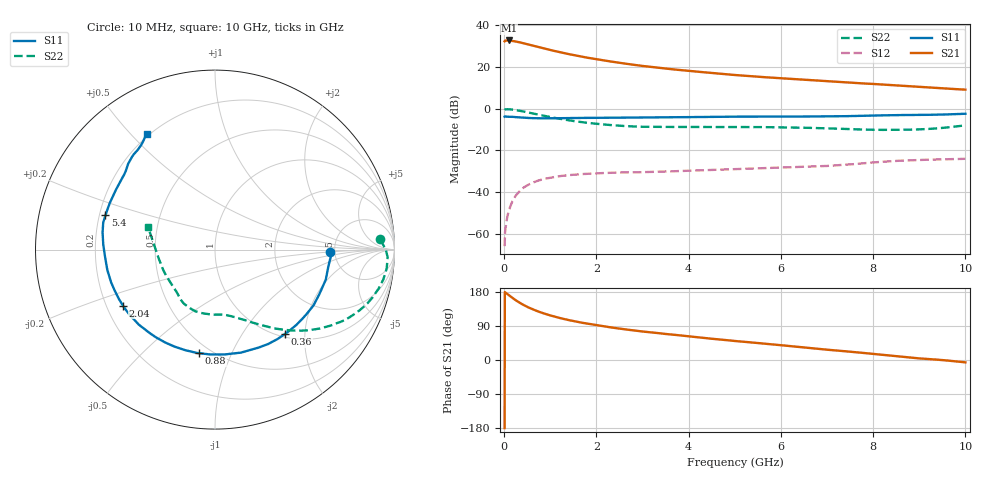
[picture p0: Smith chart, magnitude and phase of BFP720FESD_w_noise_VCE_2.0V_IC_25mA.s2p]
! Infineon Technologies  Discrete & RF Semiconductors
! BFP720FESD
! VCE =  2.0 V,  IC =  25 mA
! Common Emitter S-Parameters:  Jan 2016
# GHz  S  MA  R  50
!  f  S11  S21  S12  S22
! GHz  MAG  ANG  MAG  ANG  MAG  ANG  MAG  ANG
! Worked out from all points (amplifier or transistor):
!   233 points, 10 MHz to 10 GHz, reference 50 ohm
!   highest |S21| = 32.7 dB at 100 MHz (marker M1)
!   |S21| within 3 dB of that: start of sweep to 709.8 MHz
!   unconditionally stable (mu >= 1): start of sweep to 14.56 MHz; 4.664 GHz to end of sweep
!   at 200 MHz: K = 0.15, MSG = 38.0 dB, |S12| = -43.6 dB
!   at 1.74 GHz: K = 0.53, MSG = 28.0 dB, |S12| = -31.4 dB
!   at 10 GHz: K = 1.19, MAG = 14.0 dB, |S12| = -24.1 dB
!   lowest NFmin = 1.08 dB at 450 MHz
!   S11 on the Smith chart (normalised r, x): 10 MHz: 4.53, -0.22; 360 MHz: 1.05, -1.58; 880 MHz: 0.43, -0.76; 2.04 GHz: 0.27, -0.26; 5.4 GHz: 0.22, +0.15; 10 GHz: 0.19, +0.56
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0.01  0.6393 -1.3  41.06 -179.7  0.0005 127.1  0.9228 3.5
0.02  0.6467 -3.3  42.59 178.5  0.0011 93.0  0.9514 0.0
0.1  0.6395 -15.1  43 171.4  0.0035 79.4  0.9623 -6.3
0.2  0.6307 -29.7  41.67 162.2  0.0066 76.0  0.9379 -13.3
0.24  0.6241 -35.0  40.82 158.6  0.0078 73.6  0.9238 -15.8
0.36  0.6107 -50.4  38.22 149.4  0.0111 67.7  0.8751 -22.6
0.45  0.6036 -60.7  36.1 143.3  0.0133 63.8  0.8368 -27.0
0.6  0.5919 -75.9  32.8 134.6  0.0163 58.0  0.771 -33.3
0.8  0.5847 -93.0  28.64 125.2  0.0196 51.8  0.6935 -40.3
0.88  0.5838 -98.8  27.3 122.1  0.0206 49.6  0.6655 -42.7
1  0.5844 -106.8  25.35 117.6  0.022 46.7  0.626 -46.1
1.22  0.5873 -119.2  22.36 110.4  0.024 42.4  0.5643 -51.5
1.4  0.5903 -127.6  20.25 105.3  0.0253 39.6  0.5223 -55.5
1.68  0.5958 -138.3  17.63 98.6  0.0267 36.3  0.4723 -60.9
2.04  0.6004 -148.7  14.99 91.3  0.028 33.6  0.4271 -67.0
2.6  0.6068 -162.1  12.06 81.2  0.0294 31.0  0.382 -76.3
3.4  0.6126 -174.9  9.343 70.2  0.0307 31.4  0.3629 -86.3
5.1  0.6402 165.4  6.259 49.2  0.0355 34.4  0.3612 -103.9
5.4  0.6397 162.5  5.904 45.8  0.0365 34.8  0.3606 -106.9
6.8  0.6469 146.5  4.675 29.6  0.0413 37.3  0.3404 -123.2
8.4  0.6931 131.9  3.65 11.2  0.0547 37.8  0.3086 -152.4
10  0.7505 120.5  2.842 -6.2  0.0623 29.3  0.3953 161.1
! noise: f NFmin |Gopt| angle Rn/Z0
0.45  1.08  0.05  -156  0.11
2.4  1.1  0.07  -150  0.13
5.5  1.29  0.18  170  0.11
10  1.76  0.32  -118  0.19
